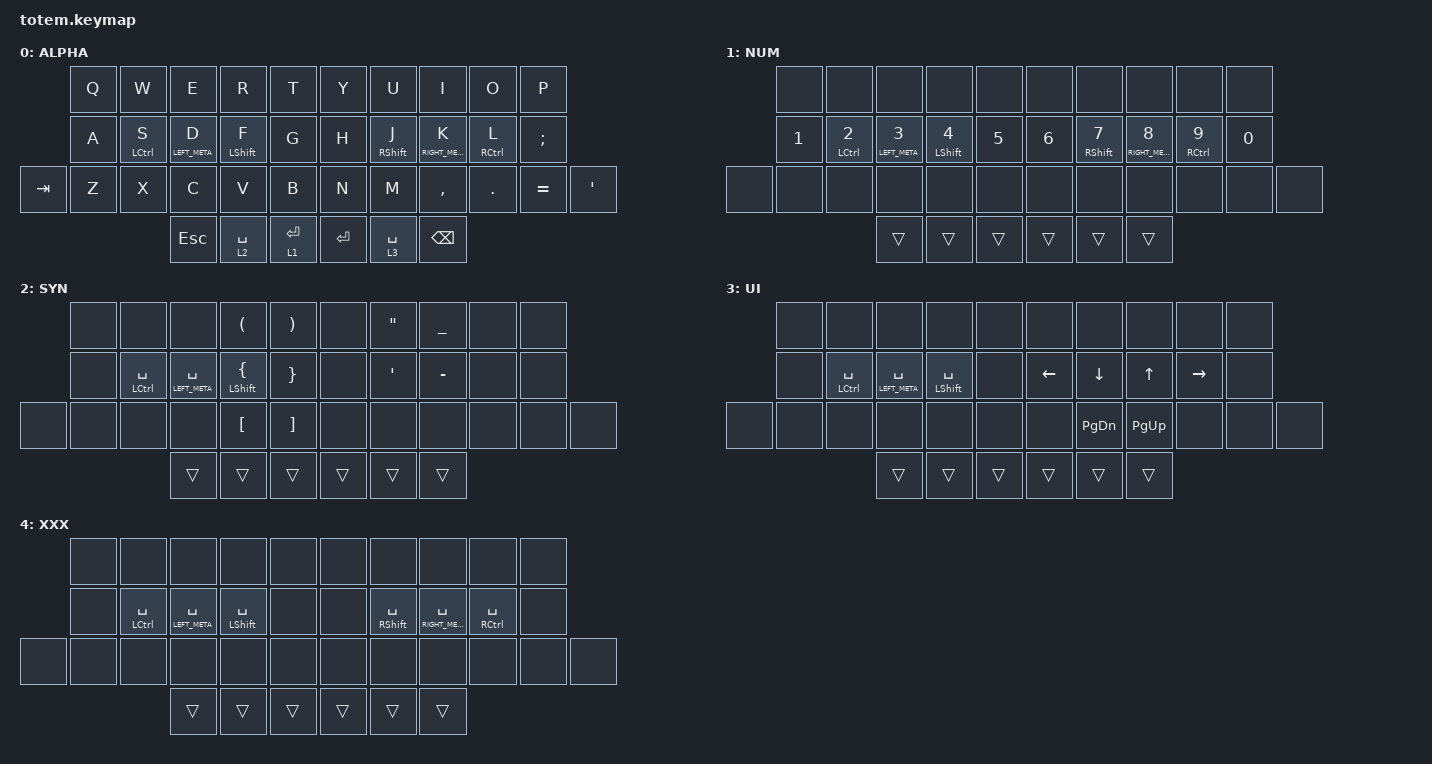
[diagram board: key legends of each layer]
//
//                                                        ▀▀▀▀▀     ▀▀▀▀▀          ▀▀█▀▀
//                                                        ▄▀▀▀▄  ▄  ▄▀▀▀▄  ▄  ▄▀▀▀▄  █  ▄▀▀▀▄
//                                                        █   █  █  █   █  █  █   █  █  █   █
//                                                         ▀▀▀   █   ▀▀▀   █   ▀▀▀   ▀   ▀▀▀
//                                                               █      ▄▄▄█▄▄▄    █   █  
//                                                               ▀      █  █  █     █▄█
//                                                             ▀▀▀▀▀    █  █  █      ▀
//                                                                      ▀  ▀  ▀
//
// ▄▄▄▄▄▄▄▄▄▄▄▄▄▄▄▄▄▄▄▄▄▄▄▄▄▄▄▄▄▄▄▄▄▄▄▄▄▄▄▄▄▄▄▄▄▄▄▄▄▄▄▄▄▄▄▄▄▄▄▄▄▄▄▄▄▄▄▄▄▄▄▄▄▄▄▄▄▄▄▄▄▄▄▄▄▄▄▄▄▄▄▄▄▄▄▄▄▄▄▄▄▄▄▄▄▄▄▄▄▄▄▄▄▄▄▄▄▄▄▄▄▄▄▄▄▄▄▄▄▄▄▄▄▄▄▄▄▄▄▄▄▄▄▄▄▄▄▄▄

#include <behaviors.dtsi>
#include <dt-bindings/zmk/keys.h>

#define BASE 0
#define NAV  1
#define SYM  2
#define ADJ  3
#define TVP1 4
#define TVP2 5

/ {
    combos { compatible = "zmk,combos"; };

    keymap {
        compatible = "zmk,keymap";

        // ▄▄▄▄▄▄▄▄▄▄▄▄▄▄▄▄▄▄▄▄▄▄▄▄▄▄▄▄▄▄▄▄▄▄▄▄▄▄▄▄▄▄▄▄▄▄▄▄▄▄▄▄▄▄▄▄▄▄▄▄▄▄▄▄▄▄▄▄▄▄▄▄▄▄▄▄▄▄▄▄▄▄▄▄▄▄▄▄▄▄▄▄▄▄▄▄▄▄▄▄▄▄▄▄▄▄▄▄▄▄▄▄▄▄▄▄▄▄▄▄▄▄▄▄▄▄▄▄▄▄▄▄▄▄▄▄▄▄▄▄▄▄▄▄▄▄▄▄▄

        alpha {
            // ┏━━━━━━━━━━━━━━━━━━━━━━━━━━━━━━━━━━━━━━━┓

            label = "ALPHA";

            // ┗━━━━━━━━━━━━━━━━━━━━━━━━━━━━━━━━━━━━━━━┛
            //             ┏━━━━━━━━━━━┳━━━━━━━━━━━┳━━━━━━━━━━━┳━━━━━━━━━━━┳━━━━━━━━━━━┓   ┏━━━━━━━━━━━┳━━━━━━━━━━━┳━━━━━━━━━━━┳━━━━━━━━━━━┳━━━━━━━━━━━┓
            //             ┃     Q     ┃     W     ┃     F     ┃     P     ┃     G     ┃   ┃     J     ┃     L     ┃     U     ┃     Y     ┃     ;     ┃
            //             ┣━━━━━━━━━━━╋━━━━━━━━━━━╋━━━━━━━━━━━╋━━━━━━━━━━━╋━━━━━━━━━━━┫   ┣━━━━━━━━━━━╋━━━━━━━━━━━╋━━━━━━━━━━━╋━━━━━━━━━━━╋━━━━━━━━━━━┫
            //             ┃     A     ┃     R     ┃     S     ┃     T     ┃     D     ┃   ┃     H     ┃     N     ┃     E     ┃     I     ┃     O     ┃
            // ┏━━━━━━━━━━━╋━━━━━━━━━━━╋━━━━━━━━━━━╋━━━━━━━━━━━╋━━━━━━━━━━━╋━━━━━━━━━━━┫   ┣━━━━━━━━━━━╋━━━━━━━━━━━╋━━━━━━━━━━━╋━━━━━━━━━━━╋━━━━━━━━━━━╋━━━━━━━━━━━┓
            // ┃     Q     ┃     Z     ┃     X     ┃     C     ┃     V     ┃     B     ┃   ┃     K     ┃     M     ┃     ,     ┃     .     ┃     /     ┃     \     ┃
            // ┗━━━━━━━━━━━┻━━━━━━━━━━━┻━━━━━━━━━━━╋━━━━━━━━━━━╋━━━━━━━━━━━╋━━━━━━━━━━━┫   ┣━━━━━━━━━━━╋━━━━━━━━━━━╋━━━━━━━━━━━╋━━━━━━━━━━━┻━━━━━━━━━━━┻━━━━━━━━━━━┛
            //                                     ┃    DEL    ┃    TAB    ┃    SPC    ┃   ┃   ENTER   ┃           ┃   BSPC    ┃
            //                                     ┗━━━━━━━━━━━┻━━━━━━━━━━━┻━━━━━━━━━━━┛   ┗━━━━━━━━━━━┻━━━━━━━━━━━┻━━━━━━━━━━━┛

            bindings = <
         &kp Q  &kp W        &kp E            &kp R             &kp T          &kp Y      &kp U              &kp I             &kp O        &kp P
         &kp A  &mt LCTRL S  &mt LEFT_META D  &mt LEFT_SHIFT F  &kp G          &kp H      &mt RIGHT_SHIFT J  &mt RIGHT_META K  &mt RCTRL L  &kp SEMI
&kp TAB  &kp Z  &kp X        &kp C            &kp V             &kp B          &kp N      &kp M              &kp COMMA         &kp DOT      &kp EQUAL  &kp SQT
                             &kp ESCAPE       &lt 2 SPACE       &lt 1 ENTER    &kp ENTER  &lt 3 SPACE        &kp BSPC
            >;
        };

        // ▄▄▄▄▄▄▄▄▄▄▄▄▄▄▄▄▄▄▄▄▄▄▄▄▄▄▄▄▄▄▄▄▄▄▄▄▄▄▄▄▄▄▄▄▄▄▄▄▄▄▄▄▄▄▄▄▄▄▄▄▄▄▄▄▄▄▄▄▄▄▄▄▄▄▄▄▄▄▄▄▄▄▄▄▄▄▄▄▄▄▄▄▄▄▄▄▄▄▄▄▄▄▄▄▄▄▄▄▄▄▄▄▄▄▄▄▄▄▄▄▄▄▄▄▄▄▄▄▄▄▄▄▄▄▄▄▄▄▄▄▄▄▄▄▄▄▄▄▄
        // ▄▄▄▄▄▄▄▄▄▄▄▄▄▄▄▄▄▄▄▄▄▄▄▄▄▄▄▄▄▄▄▄▄▄▄▄▄▄▄▄▄▄▄▄▄▄▄▄▄▄▄▄▄▄▄▄▄▄▄▄▄▄▄▄▄▄▄▄▄▄▄▄▄▄▄▄▄▄▄▄▄▄▄▄▄▄▄▄▄▄▄▄▄▄▄▄▄▄▄▄▄▄▄▄▄▄▄▄▄▄▄▄▄▄▄▄▄▄▄▄▄▄▄▄▄▄▄▄▄▄▄▄▄▄▄▄▄▄▄▄▄▄▄▄▄▄▄▄▄

        numeric {
            label = "NUM";
            bindings = <
       &none   &none                &none             &none              &none     &none   &none               &none              &none         &none
       &kp N1  &mt LEFT_CONTROL N2  &mt LEFT_META N3  &mt LEFT_SHIFT N4  &kp N5    &kp N6  &mt RIGHT_SHIFT N7  &mt RIGHT_META N8  &mt RCTRL N9  &kp N0
&none  &none   &none                &none             &none              &none     &none   &none               &none              &none         &none   &none
                                    &trans            &trans             &trans    &trans  &trans              &trans
            >;
        };

        syntax {
            label = "SYN";
            bindings = <
       &none  &none                   &none                &kp LEFT_PARENTHESIS       &kp RIGHT_PARENTHESIS    &none   &kp DOUBLE_QUOTES  &kp UNDERSCORE  &none  &none
       &none  &mt LEFT_CONTROL SPACE  &mt LEFT_META SPACE  &mt LEFT_SHIFT LEFT_BRACE  &kp RIGHT_BRACE          &none   &kp SQT            &kp MINUS       &none  &none
&none  &none  &none                   &none                &kp LEFT_BRACKET           &kp RIGHT_BRACKET        &none   &none              &none           &none  &none  &none
                                      &trans               &trans                     &trans                   &trans  &trans             &trans
            >;
        };

        user-interface {
            label = "UI";
            bindings = <
       &none  &none                   &none                &none                 &none     &none     &none      &none      &none      &none
       &none  &mt LEFT_CONTROL SPACE  &mt LEFT_META SPACE  &mt LEFT_SHIFT SPACE  &none     &kp LEFT  &kp DOWN   &kp UP     &kp RIGHT  &none
&none  &none  &none                   &none                &none                 &none     &none     &kp PG_DN  &kp PG_UP  &none      &none  &none
                                      &trans               &trans                &trans    &trans    &trans     &trans
            >;
        };

        template {
            label = "XXX";
            bindings = <
       &none  &none                   &none                &none                 &none     &none   &none                  &none                 &none            &none
       &none  &mt LEFT_CONTROL SPACE  &mt LEFT_META SPACE  &mt LEFT_SHIFT SPACE  &none     &none   &mt RIGHT_SHIFT SPACE  &mt RIGHT_META SPACE  &mt RCTRL SPACE  &none
&none  &none  &none                   &none                &none                 &none     &none   &none                  &none                 &none            &none  &none
                                      &trans               &trans                &trans    &trans  &trans                 &trans
            >;
        };

        // ▄▄▄▄▄▄▄▄▄▄▄▄▄▄▄▄▄▄▄▄▄▄▄▄▄▄▄▄▄▄▄▄▄▄▄▄▄▄▄▄▄▄▄▄▄▄▄▄▄▄▄▄▄▄▄▄▄▄▄▄▄▄▄▄▄▄▄▄▄▄▄▄▄▄▄▄▄▄▄▄▄▄▄▄▄▄▄▄▄▄▄▄▄▄▄▄▄▄▄▄▄▄▄▄▄▄▄▄▄▄▄▄▄▄▄▄▄▄▄▄▄▄▄▄▄▄▄▄▄▄▄▄▄▄▄▄▄▄▄▄▄▄▄▄▄▄▄▄▄
        // ▄▄▄▄▄▄▄▄▄▄▄▄▄▄▄▄▄▄▄▄▄▄▄▄▄▄▄▄▄▄▄▄▄▄▄▄▄▄▄▄▄▄▄▄▄▄▄▄▄▄▄▄▄▄▄▄▄▄▄▄▄▄▄▄▄▄▄▄▄▄▄▄▄▄▄▄▄▄▄▄▄▄▄▄▄▄▄▄▄▄▄▄▄▄▄▄▄▄▄▄▄▄▄▄▄▄▄▄▄▄▄▄▄▄▄▄▄▄▄▄▄▄▄▄▄▄▄▄▄▄▄▄▄▄▄▄▄▄▄▄▄▄▄▄▄▄▄▄▄
        // ▄▄▄▄▄▄▄▄▄▄▄▄▄▄▄▄▄▄▄▄▄▄▄▄▄▄▄▄▄▄▄▄▄▄▄▄▄▄▄▄▄▄▄▄▄▄▄▄▄▄▄▄▄▄▄▄▄▄▄▄▄▄▄▄▄▄▄▄▄▄▄▄▄▄▄▄▄▄▄▄▄▄▄▄▄▄▄▄▄▄▄▄▄▄▄▄▄▄▄▄▄▄▄▄▄▄▄▄▄▄▄▄▄▄▄▄▄▄▄▄▄▄▄▄▄▄▄▄▄▄▄▄▄▄▄▄▄▄▄▄▄▄▄▄▄▄▄▄▄
    };
};
